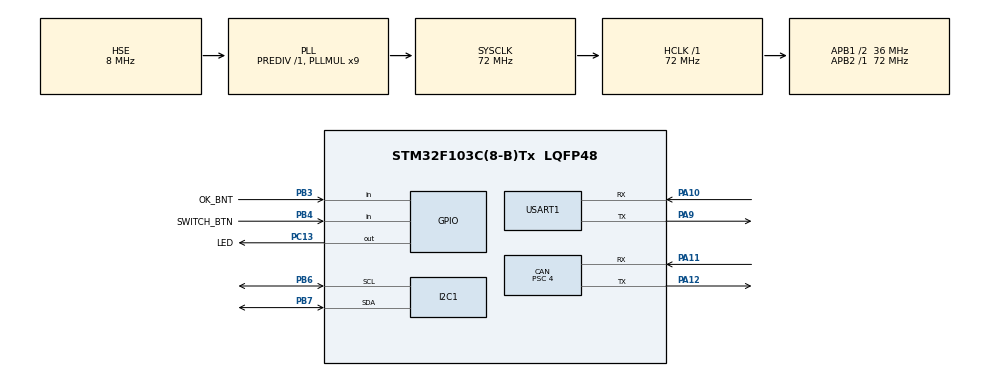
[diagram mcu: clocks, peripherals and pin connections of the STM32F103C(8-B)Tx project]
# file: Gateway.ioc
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CAN.BS1=CAN_BS1_15TQ
CAN.BS2=CAN_BS2_2TQ
CAN.CalculateBaudRate=500000
CAN.CalculateTimeBit=2000
CAN.CalculateTimeQuantum=111.11111111111111
CAN.Prescaler=4
I2C1.I2C_Mode=I2C_Fast
Mcu.Family=STM32F1
Mcu.Name=STM32F103C(8-B)Tx
Mcu.Package=LQFP48
NVIC.PriorityGroup=NVIC_PRIORITYGROUP_4
NVIC.USART1_IRQn=true\:0\:0\:false\:false\:true\:true\:true\:true
PA10.Mode=Asynchronous
PA10.Signal=USART1_RX
PA11.Mode=CAN_Activate
PA11.Signal=CAN_RX
PA12.Mode=CAN_Activate
PA12.Signal=CAN_TX
PA13.Mode=Serial_Wire
PA13.Signal=SYS_JTMS-SWDIO
PA14.Mode=Serial_Wire
PA14.Signal=SYS_JTCK-SWCLK
PA9.Mode=Asynchronous
PA9.Signal=USART1_TX
PB3.GPIO_Label=OK_BNT
PB3.GPIO_PuPd=GPIO_PULLUP
PB3.Signal=GPIO_Input
PB4.GPIO_Label=SWITCH_BTN
PB4.GPIO_PuPd=GPIO_PULLUP
PB4.Signal=GPIO_Input
PB6.Mode=I2C
PB6.Signal=I2C1_SCL
PB7.Mode=I2C
PB7.Signal=I2C1_SDA
PC13-TAMPER-RTC.GPIO_Label=LED
PC13-TAMPER-RTC.Signal=GPIO_Output
PD0-OSC_IN.Mode=HSE-External-Oscillator
PD0-OSC_IN.Signal=RCC_OSC_IN
PD1-OSC_OUT.Mode=HSE-External-Oscillator
PD1-OSC_OUT.Signal=RCC_OSC_OUT
ProjectManager.HeapSize=0x200
ProjectManager.StackSize=0x400
ProjectManager.TargetToolchain=STM32CubeIDE
RCC.AHBFreq_Value=72000000
RCC.APB1CLKDivider=RCC_HCLK_DIV2
RCC.APB1Freq_Value=36000000
RCC.APB1TimFreq_Value=72000000
RCC.APB2Freq_Value=72000000
RCC.APB2TimFreq_Value=72000000
RCC.HCLKFreq_Value=72000000
RCC.PLLMUL=RCC_PLL_MUL9
RCC.PLLSourceVirtual=RCC_PLLSOURCE_HSE
RCC.SYSCLKFreq_VALUE=72000000
RCC.SYSCLKSource=RCC_SYSCLKSOURCE_PLLCLK
RCC.USBFreq_Value=72000000
USART1.Parity=PARITY_NONE
USART1.VirtualMode=VM_ASYNC
USART1.WordLength=WORDLENGTH_8B
VP_CRC_VS_CRC.Mode=CRC_Activate
VP_IWDG_VS_IWDG.Mode=IWDG_Activate
board=custom

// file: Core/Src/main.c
/* USER CODE BEGIN Header */
/**
  ******************************************************************************
  * @file           : main.c
  * @brief          : Main program body
  ******************************************************************************
  * @attention
  *
  * Copyright (c) 2024 STMicroelectronics.
  * All rights reserved.
  *
  * This software is licensed under terms that can be found in the LICENSE file
  * in the root directory of this software component.
  * If no LICENSE file comes with this software, it is provided AS-IS.
  *
  ******************************************************************************
  */
/* USER CODE END Header */
#include "main.h"

/* USER CODE BEGIN Includes */
#include "Transmit.h"
#include "UserInterface_Interface.h"
#include "ReceiveUpdate_Interface.h"
#include "Encrypt_Interface.h"
/* USER CODE END Includes */

CAN_HandleTypeDef hcan;

CRC_HandleTypeDef hcrc;

I2C_HandleTypeDef hi2c1;

IWDG_HandleTypeDef hiwdg;

UART_HandleTypeDef huart1;

/* USER CODE BEGIN PV */
CAN_FilterTypeDef hcanfilter1;
CAN_TxHeaderTypeDef TxHeader;
CAN_RxHeaderTypeDef RxHeader;
uint8_t TxData[8];
uint8_t RxData[8];
uint32_t TxMailbox;
/* USER CODE END PV */

void SystemClock_Config(void);
static void MX_GPIO_Init(void);
static void MX_CAN_Init(void);
static void MX_I2C1_Init(void);
static void MX_USART1_UART_Init(void);
static void MX_CRC_Init(void);

int main(void)
{
  /* USER CODE BEGIN 1 */
  uint8_t state = SYS_IDLE;
  /* USER CODE END 1 */

  /* MCU Configuration--------------------------------------------------------*/

  /* Reset of all peripherals, Initializes the Flash interface and the Systick. */
  HAL_Init();

  /* Configure the system clock */
  SystemClock_Config();

  /* Initialize all configured peripherals */
  MX_GPIO_Init();
  MX_CAN_Init();
  MX_I2C1_Init();
  MX_USART1_UART_Init();
  MX_CRC_Init();
  /* USER CODE BEGIN 2 */
  HAL_CAN_Start(&hcan);

  ReceiveUpdate_InitializeModule();
  Transmit_InitializeModule();
  Encrypt_Address_Read_Init();
  UserInterface_InitializeModule();

// Testing between GW and MCU
//  RTE_WRITE_SYSTEM_STATE(SYS_ENCRYPT);
////  RTE_WRITE_SYSTEM_STATE(SYS_NEW_UPDATE_REQ);
//  RTE_WRITE_HEADER_ACK_FLAG(HEADER_SET);
//  RTE_WRITE_NODE_ID(1);
//  RTE_WRITE_CODE_SIZE(0x2524);
//  RTE_WRITE_CODE_SIZE(0x5524);
  /* USER CODE END 2 */

  /* Infinite loop */
  /* USER CODE BEGIN WHILE */
  while (1)
  {

		RTE_READ_SYSTEM_STATE(&state);
		if (state == SYS_REC_UPDATE){
			ReceiveUpdate_MainFunction();
		}
		else if (state == SYS_ENCRYPT)
		{
			Encrypt_MainFunction();
		}
		else if (state == SYS_SEND_UPDATE)
		{
			Transmit_MainFunction();
		}
		else
		{
			//Do Nothing
		}
		UserInterface_MainFunction();
    /* USER CODE END WHILE */

  }
}

void SystemClock_Config(void)
{
  RCC_OscInitTypeDef RCC_OscInitStruct = {0};
  RCC_ClkInitTypeDef RCC_ClkInitStruct = {0};

  /** Initializes the RCC Oscillators according to the specified parameters
  * in the RCC_OscInitTypeDef structure.
  */
  RCC_OscInitStruct.OscillatorType = RCC_OSCILLATORTYPE_LSI|RCC_OSCILLATORTYPE_HSE;
  RCC_OscInitStruct.HSEState = RCC_HSE_ON;
  RCC_OscInitStruct.HSEPredivValue = RCC_HSE_PREDIV_DIV1;
  RCC_OscInitStruct.HSIState = RCC_HSI_ON;
  RCC_OscInitStruct.LSIState = RCC_LSI_ON;
  RCC_OscInitStruct.PLL.PLLState = RCC_PLL_ON;
  RCC_OscInitStruct.PLL.PLLSource = RCC_PLLSOURCE_HSE;
  RCC_OscInitStruct.PLL.PLLMUL = RCC_PLL_MUL9;
  if (HAL_RCC_OscConfig(&RCC_OscInitStruct) != HAL_OK)
  {
    Error_Handler();
  }

  /** Initializes the CPU, AHB and APB buses clocks
  */
  RCC_ClkInitStruct.ClockType = RCC_CLOCKTYPE_HCLK|RCC_CLOCKTYPE_SYSCLK
                              |RCC_CLOCKTYPE_PCLK1|RCC_CLOCKTYPE_PCLK2;
  RCC_ClkInitStruct.SYSCLKSource = RCC_SYSCLKSOURCE_PLLCLK;
  RCC_ClkInitStruct.AHBCLKDivider = RCC_SYSCLK_DIV1;
  RCC_ClkInitStruct.APB1CLKDivider = RCC_HCLK_DIV2;
  RCC_ClkInitStruct.APB2CLKDivider = RCC_HCLK_DIV1;

  if (HAL_RCC_ClockConfig(&RCC_ClkInitStruct, FLASH_LATENCY_2) != HAL_OK)
  {
    Error_Handler();
  }
}

static void MX_CAN_Init(void)
{

  hcan.Instance = CAN1;
  hcan.Init.Prescaler = 4;
  hcan.Init.Mode = CAN_MODE_NORMAL;
  hcan.Init.SyncJumpWidth = CAN_SJW_1TQ;
  hcan.Init.TimeSeg1 = CAN_BS1_15TQ;
  hcan.Init.TimeSeg2 = CAN_BS2_2TQ;
  hcan.Init.TimeTriggeredMode = DISABLE;
  hcan.Init.AutoBusOff = DISABLE;
  hcan.Init.AutoWakeUp = DISABLE;
  hcan.Init.AutoRetransmission = DISABLE;
  hcan.Init.ReceiveFifoLocked = DISABLE;
  hcan.Init.TransmitFifoPriority = DISABLE;
  if (HAL_CAN_Init(&hcan) != HAL_OK)
  {
    Error_Handler();
  }
  /* USER CODE BEGIN CAN_Init 2 */
  //Initialize Variable for CAN
  hcanfilter1.FilterActivation = CAN_FILTER_ENABLE;
  hcanfilter1.FilterBank = 0;  // which filter bank to use from the assigned ones
  hcanfilter1.FilterFIFOAssignment = CAN_FILTER_FIFO0;
  hcanfilter1.FilterIdHigh = 0x010<<5;	//The STD ID starts from 5th bit in the ID HIGH Register
  hcanfilter1.FilterIdLow = 0;
  hcanfilter1.FilterMaskIdHigh = 0x010<<5;
  hcanfilter1.FilterMaskIdLow = 0;
  hcanfilter1.FilterMode = CAN_FILTERMODE_IDMASK;
  hcanfilter1.FilterScale = CAN_FILTERSCALE_32BIT;
  hcanfilter1.SlaveStartFilterBank = 10;  // how many filters to assign to the CAN1 (master can)

  HAL_CAN_ConfigFilter(&hcan, &hcanfilter1);
  /* USER CODE END CAN_Init 2 */

}

static void MX_CRC_Init(void)
{

  hcrc.Instance = CRC;
  if (HAL_CRC_Init(&hcrc) != HAL_OK)
  {
    Error_Handler();
  }

}

static void MX_I2C1_Init(void)
{

  hi2c1.Instance = I2C1;
  hi2c1.Init.ClockSpeed = 400000;
  hi2c1.Init.DutyCycle = I2C_DUTYCYCLE_2;
  hi2c1.Init.OwnAddress1 = 0;
  hi2c1.Init.AddressingMode = I2C_ADDRESSINGMODE_7BIT;
  hi2c1.Init.DualAddressMode = I2C_DUALADDRESS_DISABLE;
  hi2c1.Init.OwnAddress2 = 0;
  hi2c1.Init.GeneralCallMode = I2C_GENERALCALL_DISABLE;
  hi2c1.Init.NoStretchMode = I2C_NOSTRETCH_DISABLE;
  if (HAL_I2C_Init(&hi2c1) != HAL_OK)
  {
    Error_Handler();
  }

}

static void MX_USART1_UART_Init(void)
{

  huart1.Instance = USART1;
  huart1.Init.BaudRate = 115200;
  huart1.Init.WordLength = UART_WORDLENGTH_8B;
  huart1.Init.StopBits = UART_STOPBITS_1;
  huart1.Init.Parity = UART_PARITY_NONE;
  huart1.Init.Mode = UART_MODE_TX_RX;
  huart1.Init.HwFlowCtl = UART_HWCONTROL_NONE;
  huart1.Init.OverSampling = UART_OVERSAMPLING_16;
  if (HAL_UART_Init(&huart1) != HAL_OK)
  {
    Error_Handler();
  }

}

static void MX_GPIO_Init(void)
{
  GPIO_InitTypeDef GPIO_InitStruct = {0};

  /* GPIO Ports Clock Enable */
  __HAL_RCC_GPIOC_CLK_ENABLE();
  __HAL_RCC_GPIOD_CLK_ENABLE();
  __HAL_RCC_GPIOA_CLK_ENABLE();
  __HAL_RCC_GPIOB_CLK_ENABLE();

  /*Configure GPIO pin Output Level */
  HAL_GPIO_WritePin(LED_GPIO_Port, LED_Pin, GPIO_PIN_RESET);

  /*Configure GPIO pin : LED_Pin */
  GPIO_InitStruct.Pin = LED_Pin;
  GPIO_InitStruct.Mode = GPIO_MODE_OUTPUT_PP;
  GPIO_InitStruct.Pull = GPIO_NOPULL;
  GPIO_InitStruct.Speed = GPIO_SPEED_FREQ_LOW;
  HAL_GPIO_Init(LED_GPIO_Port, &GPIO_InitStruct);

  /*Configure GPIO pins : OK_BNT_Pin SWITCH_BTN_Pin */
  GPIO_InitStruct.Pin = OK_BNT_Pin|SWITCH_BTN_Pin;
  GPIO_InitStruct.Mode = GPIO_MODE_INPUT;
  GPIO_InitStruct.Pull = GPIO_PULLUP;
  HAL_GPIO_Init(GPIOB, &GPIO_InitStruct);

}

void Error_Handler(void)
{
  __disable_irq();
  while (1)
  {
  }
}
